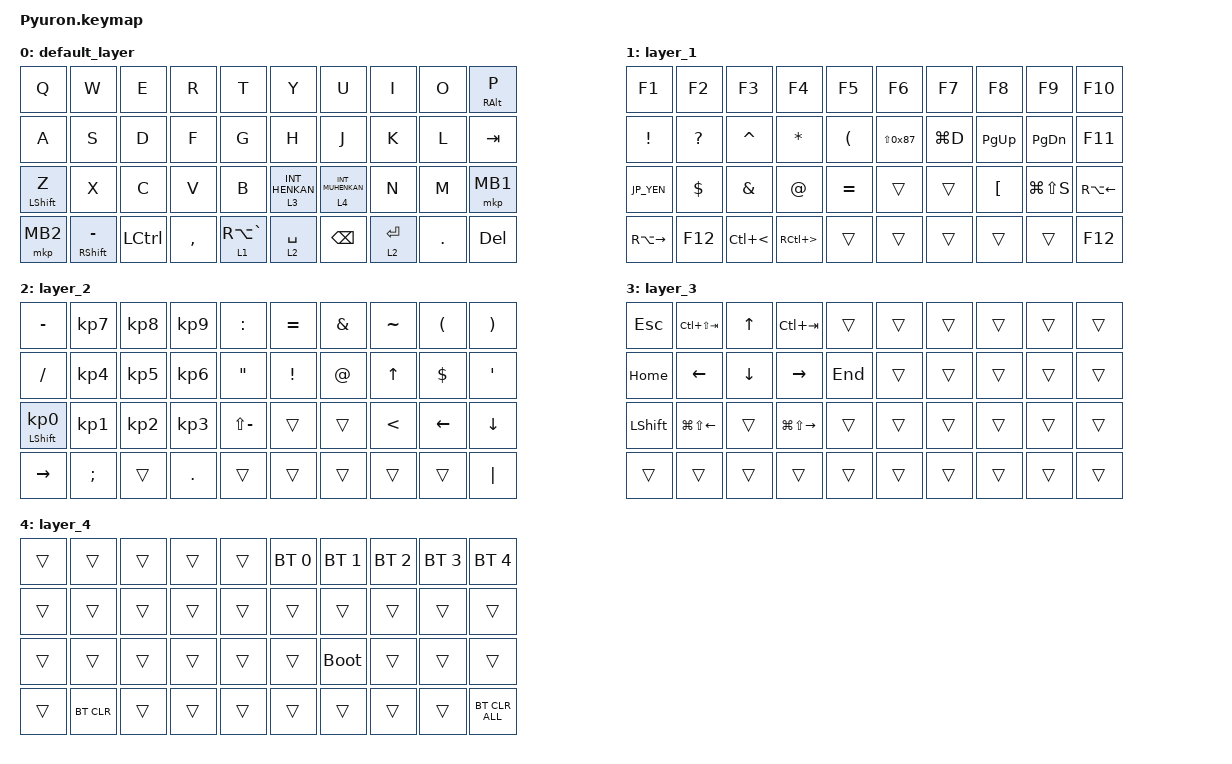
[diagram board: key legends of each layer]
#include <behaviors.dtsi>
#include <dt-bindings/zmk/bt.h>
#include <dt-bindings/zmk/keys.h>
#include <dt-bindings/zmk/pointing.h>

// OS設定を日本語キーボードのまま使用するための変換定義

#define JP_DQUOTE       AT                // "
#define JP_AMPERSAND    CARET             // &
#define JP_QUOTE        AMPERSAND         // '
#define JP_EQUAL        CARET             // =
#define JP_CARET        EQUAL             // ^
#define JP_YEN          0x89              // ¥
#define JP_PLUS         COLON             // +
#define JP_TILDE        PLUS              // ~
#define JP_PIPE         LS(0x89)          // |
#define JP_AT           LEFT_BRACKET      // @
#define JP_COLON        SINGLE_QUOTE      // :
#define JP_ASTERISK     DOUBLE_QUOTES     // *
#define JP_BACKQUOTE    LEFT_BRACE        // `
#define JP_UNDERSCORE   LS(0x87)          // _
#define JP_LBRACKET     RIGHT_BRACKET     // [
#define JP_RBRACKET     BACKSLASH         // ]
#define JP_LPAREN       ASTERISK          // (
#define JP_RPAREN       LEFT_PARENTHESIS  // )
#define JP_LBRACE       RIGHT_BRACE       // {
#define JP_RBRACE       PIPE              // }
#define JP_KANA         LANGUAGE_1        // かな
#define JP_EISU         LANGUAGE_2        // 英数
#define JP_HANZEN       GRAVE             // 半角/全角
#define MOUSE 6

&mt {
    flavor = "balanced";
    quick-tap-ms = <0>;
};

/ {
    combos { compatible = "zmk,combos"; };

    macros {
        to_layer_0: to_layer_0 {
            compatible = "zmk,behavior-macro-one-param";
            #binding-cells = <1>;
            bindings = <&to 0 &macro_param_1to1 &kp MACRO_PLACEHOLDER>;
            label = "TO_LAYER_0";
        };
    };

    lt_to_layer_0: lt_to_layer_0 {
        compatible = "zmk,behavior-hold-tap";
        label = "LAYER_TAP_TO_0";
        bindings = <&mo>, <&to_layer_0>;

        #binding-cells = <2>;
        tapping-term-ms = <200>;
    };
};

/ {
    behaviors {
    };

    keymap {
        compatible = "zmk,keymap";

        default_layer {
            bindings = <
&kp Q             &kp W                  &kp E      &kp R      &kp T            &kp Y             &kp U               &kp I        &kp O       &mt RIGHT_ALT P
&kp A             &kp S                  &kp D      &kp F      &kp G            &kp H             &kp J               &kp K        &kp L       &kp TAB
&mt LEFT_SHIFT Z  &kp X                  &kp C      &kp V      &kp B            &lt 3 INT_HENKAN  &lt 4 INT_MUHENKAN  &kp N        &kp M       &mkp MB1
&mkp MB2          &mt RIGHT_SHIFT MINUS  &kp LCTRL  &kp COMMA  &lt 1 RA(GRAVE)  &lt 2 SPACE       &kp BACKSPACE       &lt 2 ENTER  &kp PERIOD  &kp DEL
            >;
        };

        layer_1 {
            bindings = <
&kp F1               &kp F2        &kp F3             &kp F4                &kp F5         &kp F6             &kp F7     &kp F8       &kp F9         &kp F10
&kp EXCLAMATION      &kp QUESTION  &kp JP_AMPERSAND   &kp JP_LPAREN         &kp JP_RPAREN  &kp JP_UNDERSCORE  &kp LG(D)  &kp PAGE_UP  &kp PAGE_DOWN  &kp F11
&kp JP_YEN           &kp DOLLAR    &kp JP_QUOTE       &kp JP_DQUOTE         &kp JP_CARET   &trans             &trans     &kp JP_AT    &kp LG(LS(S))  &kp RA(LEFT_ARROW)
&kp RA(RIGHT_ARROW)  &kp F12       &kp LC(LESS_THAN)  &kp RC(GREATER_THAN)  &trans         &trans             &trans     &trans       &trans         &kp F12
            >;
        };

        layer_2 {
            bindings = <
&kp MINUS                   &kp KP_NUMBER_7  &kp KP_NUMBER_8  &kp KP_NUMBER_9  &kp JP_PLUS      &kp JP_CARET     &kp AMPERSAND  &kp TILDE      &kp LEFT_PARENTHESIS  &kp RIGHT_PARENTHESIS
&kp SLASH                   &kp KP_NUMBER_4  &kp KP_NUMBER_5  &kp KP_NUMBER_6  &kp JP_ASTERISK  &kp EXCLAMATION  &kp AT_SIGN    &kp UP_ARROW   &kp DOLLAR            &kp JP_COLON
&mt LEFT_SHIFT KP_NUMBER_0  &kp KP_NUMBER_1  &kp KP_NUMBER_2  &kp KP_NUMBER_3  &kp LS(MINUS)    &trans           &trans         &kp LESS_THAN  &kp LEFT_ARROW        &kp DOWN_ARROW
&kp RIGHT_ARROW             &kp SEMI         &trans           &kp PERIOD       &trans           &trans           &trans         &trans         &trans                &kp PIPE
            >;
        };

        layer_3 {
            bindings = <
&kp ESCAPE      &kp LC(LS(TAB))         &kp UP_ARROW    &kp LC(TAB)              &trans   &trans  &trans  &trans  &trans  &trans
&kp HOME        &kp LEFT_ARROW          &kp DOWN_ARROW  &kp RIGHT_ARROW          &kp END  &trans  &trans  &trans  &trans  &trans
&kp LEFT_SHIFT  &kp LG(LS(LEFT_ARROW))  &trans          &kp LG(LS(RIGHT_ARROW))  &trans   &trans  &trans  &trans  &trans  &trans
&trans          &trans                  &trans          &trans                   &trans   &trans  &trans  &trans  &trans  &trans
            >;
        };

        layer_4 {
            bindings = <
&trans  &trans      &trans  &trans  &trans  &bt BT_SEL 0  &bt BT_SEL 1  &bt BT_SEL 2  &bt BT_SEL 3  &bt BT_SEL 4
&trans  &trans      &trans  &trans  &trans  &trans        &trans        &trans        &trans        &trans
&trans  &trans      &trans  &trans  &trans  &trans        &bootloader   &trans        &trans        &trans
&trans  &bt BT_CLR  &trans  &trans  &trans  &trans        &trans        &trans        &trans        &bt BT_CLR_ALL
            >;
        };
    };
};
